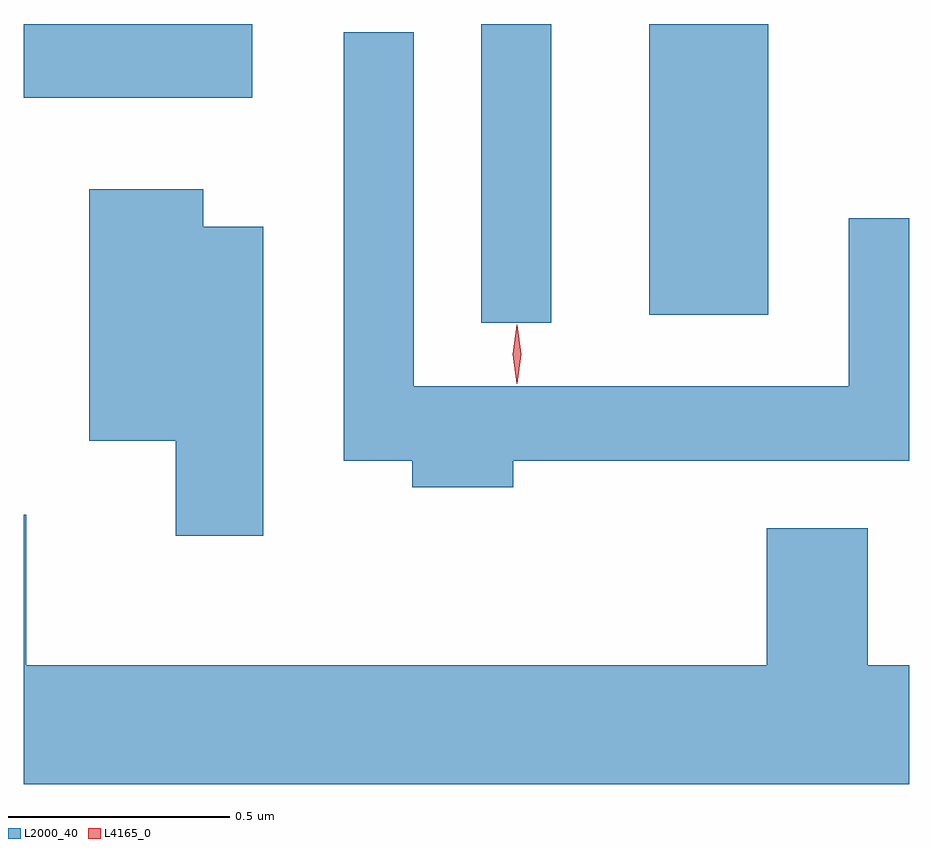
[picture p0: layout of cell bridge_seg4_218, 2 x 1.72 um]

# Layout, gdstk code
import gdstk
lib = gdstk.Library(unit=1e-6, precision=1e-09)
def R(c, l, rs):  # rectangles x0, y0, x1, y1
    for r in rs: c.add(gdstk.rectangle(r[:2], r[2:], *l))
def P(c, l, *ps):  # polygons
    for p in ps: c.add(gdstk.Polygon(p, *l))
L2000_40 = (2000, 40)
L4165_0 = (4165, 0)

bridge_seg4_218 = lib.new_cell('bridge_seg4_218')
R(bridge_seg4_218, L2000_40, [(1018.516,1317.978,1018.674,1318.652), (1018.896,1317.996,1019.164,1318.652), (1017.483,1318.486,1017.999,1318.652)])
P(bridge_seg4_218, L2000_40, [(1018.589,1317.666),(1019.483,1317.666),(1019.483,1318.213),(1019.346,1318.213),(1019.346,1317.834),(1018.364,1317.834),(1018.364,1318.633),(1018.206,1318.633),(1018.206,1317.666),(1018.361,1317.666),(1018.361,1317.606),(1018.589,1317.606)],
  [(1018.024,1318.194),(1017.889,1318.194),(1017.889,1318.279),(1017.631,1318.279),(1017.631,1317.711),(1017.826,1317.711),(1017.826,1317.496),(1018.024,1317.496)],
  [(1019.483,1317.204),(1019.389,1317.204),(1019.389,1317.514),(1019.161,1317.514),(1019.161,1317.204),(1017.489,1317.204),(1017.489,1317.544),(1017.483,1317.544),(1017.483,1316.936),(1019.483,1316.936)])
P(bridge_seg4_218, L4165_0, [(1018.597,1317.84),(1018.597,1317.84),(1018.587,1317.906),(1018.597,1317.973),(1018.597,1317.973),(1018.598,1317.973),(1018.607,1317.906),(1018.598,1317.84)])

lib.write_gds('bridge_seg4_218.gds')
